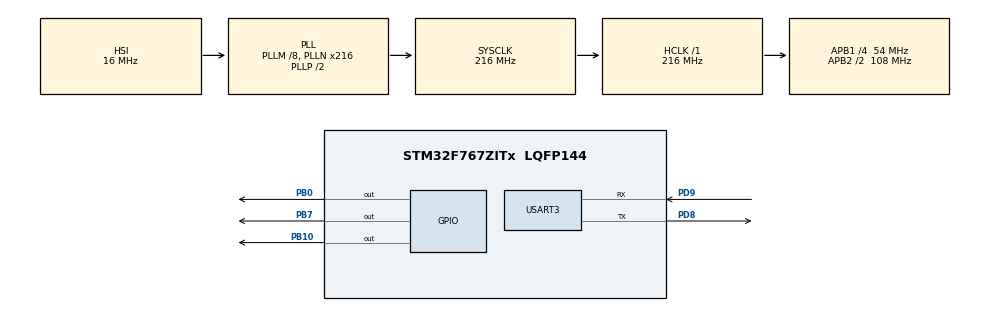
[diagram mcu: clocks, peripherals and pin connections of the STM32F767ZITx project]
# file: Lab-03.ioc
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Mcu.Family=STM32F7
Mcu.Name=STM32F767ZITx
Mcu.Package=LQFP144
NVIC.PriorityGroup=NVIC_PRIORITYGROUP_4
PB0.Signal=GPIO_Output
PB10.Signal=GPIO_Output
PB7.Signal=GPIO_Output
PD8.Mode=Asynchronous
PD8.Signal=USART3_TX
PD9.Mode=Asynchronous
PD9.Signal=USART3_RX
ProjectManager.HeapSize=0x200
ProjectManager.StackSize=0x400
ProjectManager.TargetToolchain=STM32CubeIDE
RCC.AHBFreq_Value=216000000
RCC.APB1CLKDivider=RCC_HCLK_DIV4
RCC.APB1Freq_Value=54000000
RCC.APB1TimFreq_Value=108000000
RCC.APB2CLKDivider=RCC_HCLK_DIV2
RCC.APB2Freq_Value=108000000
RCC.APB2TimFreq_Value=216000000
RCC.CortexFreq_Value=216000000
RCC.HCLKFreq_Value=216000000
RCC.HSE_VALUE=25000000
RCC.HSI_VALUE=16000000
RCC.LSE_VALUE=32768
RCC.PLLM=8
RCC.PLLN=216
RCC.SYSCLKFreq_VALUE=216000000
RCC.SYSCLKSource=RCC_SYSCLKSOURCE_PLLCLK
RCC.USBFreq_Value=216000000
RCC.VCOOutputFreq_Value=432000000
USART3.VirtualMode-Asynchronous=VM_ASYNC
board=custom

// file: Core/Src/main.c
/* USER CODE BEGIN Header */
/**
  ******************************************************************************
  * @file           : main.c
  * @brief          : Main program body
  ******************************************************************************
  * @attention
  *
  * Copyright (c) 2023 STMicroelectronics.
  * All rights reserved.
  *
  * This software is licensed under terms that can be found in the LICENSE file
  * in the root directory of this software component.
  * If no LICENSE file comes with this software, it is provided AS-IS.
  *
  ******************************************************************************
  */
/* USER CODE END Header */
#include "main.h"
#include "usart.h"
#include "gpio.h"

void SystemClock_Config(void);

int main(void)
{

  /* MCU Configuration--------------------------------------------------------*/

  /* Reset of all peripherals, Initializes the Flash interface and the Systick. */
  HAL_Init();

  /* Configure the system clock */
  SystemClock_Config();

  /* Initialize all configured peripherals */
  MX_GPIO_Init();
  MX_USART3_UART_Init();

  /* Infinite loop */
  while (1)
  {

    /* USER CODE BEGIN 3 */
//	  Example 1
//	  char str[] = "Hello,World!!\r\n";
//	  char ch1 = 'A';
//	  while(__HAL_UART_GET_FLAG(&huart3,UART_FLAG_TC)==RESET){}
//	  HAL_UART_Transmit(&huart3, (uint8_t*)&ch1, 1, 1000);
//	  HAL_Delay(500);
//	  Example 2
//	  char ch1;
//	  while(__HAL_UART_GET_FLAG(&huart3,UART_FLAG_RXNE)==RESET){}
//	  HAL_UART_Receive(&huart3, (uint8_t*)&ch1, 1, 1000);
//	  while(__HAL_UART_GET_FLAG(&huart3,UART_FLAG_TC)==RESET){}
//	  HAL_UART_Transmit(&huart3, "\rInput => ", 10, 1000);
//	  HAL_UART_Transmit(&huart3, (uint8_t*)&ch1, 1, 1000);
//	  HAL_UART_Transmit(&huart3, "\n", 1, 1000);
//	  HAL_Delay(500);
//	  Example 3
	  char TEXT1[] = "Display Blinking LED PRESS (1, 2)\n";
	  char TEXT2[] = "\rDisplay Group Member Press m\n";
	  char TEXT3[] = "\rQuit PRESS q\n";
	  char TEXT4[] = "\r64015130\n\rWanburhan Wae-Useng\n";
	  char TEXT5[] = "\rUnknow Command\n";
	  while(__HAL_UART_GET_FLAG(&huart3,UART_FLAG_TC)==RESET){}
	  HAL_UART_Transmit(&huart3,&TEXT1, strlen(TEXT1), 1000);
	  HAL_UART_Transmit(&huart3,&TEXT2, strlen(TEXT2), 1000);
	  HAL_UART_Transmit(&huart3,&TEXT3, strlen(TEXT3), 1000);
	  while(1){
	  char ch1;
	  while(__HAL_UART_GET_FLAG(&huart3,UART_FLAG_RXNE)==RESET){}
	  HAL_UART_Receive(&huart3, (uint8_t*)&ch1, 1, 1000);
	  if (ch1 == '1'){
		  while(__HAL_UART_GET_FLAG(&huart3,UART_FLAG_TC)==RESET){}
		  HAL_UART_Transmit(&huart3, "\rInput => ", 10, 1000);
		  HAL_UART_Transmit(&huart3, (uint8_t*)&ch1, 1, 1000);
		  HAL_UART_Transmit(&huart3, "\n", 1, 1000);
		  HAL_GPIO_WritePin(GPIOB, GPIO_PIN_0, GPIO_PIN_SET);
		  HAL_Delay(300);
		  HAL_GPIO_WritePin(GPIOB, GPIO_PIN_0, GPIO_PIN_RESET);
		  HAL_Delay(300);
		  HAL_GPIO_WritePin(GPIOB, GPIO_PIN_0, GPIO_PIN_SET);
		  HAL_Delay(300);
		  HAL_GPIO_WritePin(GPIOB, GPIO_PIN_0, GPIO_PIN_RESET);
		  HAL_Delay(300);
		  HAL_GPIO_WritePin(GPIOB, GPIO_PIN_0, GPIO_PIN_SET);
		  HAL_Delay(300);
		  HAL_GPIO_WritePin(GPIOB, GPIO_PIN_0, GPIO_PIN_RESET);
	  }
	  else if (ch1 == '2'){
		  while(__HAL_UART_GET_FLAG(&huart3,UART_FLAG_TC)==RESET){}
		  HAL_UART_Transmit(&huart3, "\rInput => ", 10, 1000);
		  HAL_UART_Transmit(&huart3, (uint8_t*)&ch1, 1, 1000);
		  HAL_UART_Transmit(&huart3, "\n", 1, 1000);
		  HAL_GPIO_WritePin(GPIOB, GPIO_PIN_7, GPIO_PIN_SET);
		  HAL_Delay(300);
		  HAL_GPIO_WritePin(GPIOB, GPIO_PIN_7, GPIO_PIN_RESET);
		  HAL_Delay(300);
		  HAL_GPIO_WritePin(GPIOB, GPIO_PIN_7, GPIO_PIN_SET);
		  HAL_Delay(300);
		  HAL_GPIO_WritePin(GPIOB, GPIO_PIN_7, GPIO_PIN_RESET);
		  HAL_Delay(300);
		  HAL_GPIO_WritePin(GPIOB, GPIO_PIN_7, GPIO_PIN_SET);
		  HAL_Delay(300);
		  HAL_GPIO_WritePin(GPIOB, GPIO_PIN_7, GPIO_PIN_RESET);
	  }
	  else if (ch1 == 'm'){
		  while(__HAL_UART_GET_FLAG(&huart3,UART_FLAG_TC)==RESET){}
		  HAL_UART_Transmit(&huart3, "\rInput => ", 10, 1000);
		  HAL_UART_Transmit(&huart3, (uint8_t*)&ch1, 1, 1000);
		  HAL_UART_Transmit(&huart3, "\n", 1, 1000);
		  HAL_UART_Transmit(&huart3,&TEXT4, strlen(TEXT4), 1000);
	  }
	  else if (ch1 == 'q'){
		  while(__HAL_UART_GET_FLAG(&huart3,UART_FLAG_TC)==RESET){}
		  HAL_UART_Transmit(&huart3, "Quit", 5, 1000);
		  break;
	  }
	  else{
		  while(__HAL_UART_GET_FLAG(&huart3,UART_FLAG_TC)==RESET){}
		  HAL_UART_Transmit(&huart3, &TEXT5, strlen(TEXT5), 1000);
	  }
//	  while(__HAL_UART_GET_FLAG(&huart3,UART_FLAG_TC)==RESET){}
//	  HAL_UART_Transmit(&huart3, "\rInput => ", 10, 1000);
//	  HAL_UART_Transmit(&huart3, (uint8_t*)&ch1, 1, 1000);
//	  HAL_UART_Transmit(&huart3, "\n", 1, 1000);
	  }
	  break;
//	  HAL_Delay(500);
//	  HAL_GPIO_WritePin(GPIOB, GPIO_PIN_0, GPIO_PIN_SET);
//	  HAL_Delay(500);
//	  HAL_GPIO_WritePin(GPIOB, GPIO_PIN_0, GPIO_PIN_RESET);
//	  HAL_Delay(500);
//	  HAL_GPIO_WritePin(GPIOB, GPIO_PIN_7, GPIO_PIN_SET);
//	  HAL_Delay(500);
//	  HAL_GPIO_WritePin(GPIOB, GPIO_PIN_7, GPIO_PIN_RESET);
//	  HAL_Delay(500);

  }
  /* USER CODE END 3 */
}

void SystemClock_Config(void)
{
  RCC_OscInitTypeDef RCC_OscInitStruct = {0};
  RCC_ClkInitTypeDef RCC_ClkInitStruct = {0};

  /** Configure the main internal regulator output voltage
  */
  __HAL_RCC_PWR_CLK_ENABLE();
  __HAL_PWR_VOLTAGESCALING_CONFIG(PWR_REGULATOR_VOLTAGE_SCALE1);

  /** Initializes the RCC Oscillators according to the specified parameters
  * in the RCC_OscInitTypeDef structure.
  */
  RCC_OscInitStruct.OscillatorType = RCC_OSCILLATORTYPE_HSI;
  RCC_OscInitStruct.HSIState = RCC_HSI_ON;
  RCC_OscInitStruct.HSICalibrationValue = RCC_HSICALIBRATION_DEFAULT;
  RCC_OscInitStruct.PLL.PLLState = RCC_PLL_ON;
  RCC_OscInitStruct.PLL.PLLSource = RCC_PLLSOURCE_HSI;
  RCC_OscInitStruct.PLL.PLLM = 8;
  RCC_OscInitStruct.PLL.PLLN = 216;
  RCC_OscInitStruct.PLL.PLLP = RCC_PLLP_DIV2;
  RCC_OscInitStruct.PLL.PLLQ = 2;
  RCC_OscInitStruct.PLL.PLLR = 2;
  if (HAL_RCC_OscConfig(&RCC_OscInitStruct) != HAL_OK)
  {
    Error_Handler();
  }

  /** Activate the Over-Drive mode
  */
  if (HAL_PWREx_EnableOverDrive() != HAL_OK)
  {
    Error_Handler();
  }

  /** Initializes the CPU, AHB and APB buses clocks
  */
  RCC_ClkInitStruct.ClockType = RCC_CLOCKTYPE_HCLK|RCC_CLOCKTYPE_SYSCLK
                              |RCC_CLOCKTYPE_PCLK1|RCC_CLOCKTYPE_PCLK2;
  RCC_ClkInitStruct.SYSCLKSource = RCC_SYSCLKSOURCE_PLLCLK;
  RCC_ClkInitStruct.AHBCLKDivider = RCC_SYSCLK_DIV1;
  RCC_ClkInitStruct.APB1CLKDivider = RCC_HCLK_DIV4;
  RCC_ClkInitStruct.APB2CLKDivider = RCC_HCLK_DIV2;

  if (HAL_RCC_ClockConfig(&RCC_ClkInitStruct, FLASH_LATENCY_7) != HAL_OK)
  {
    Error_Handler();
  }
}

void Error_Handler(void)
{
  __disable_irq();
  while (1)
  {
  }
}
